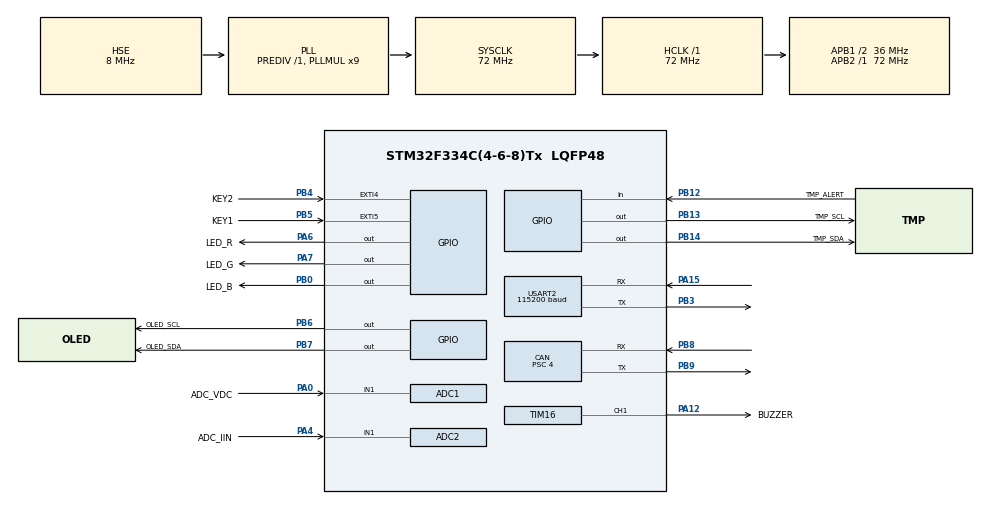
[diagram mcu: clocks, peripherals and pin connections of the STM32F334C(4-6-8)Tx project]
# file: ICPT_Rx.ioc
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ADC1.Channel-0\#ChannelRegularConversion=ADC_CHANNEL_1
ADC1.NbrOfConversionFlag=1
ADC1.Offset-0\#ChannelRegularConversion=0
ADC1.OffsetNumber-0\#ChannelRegularConversion=ADC_OFFSET_NONE
ADC1.Rank-0\#ChannelRegularConversion=1
ADC1.SamplingTime-0\#ChannelRegularConversion=ADC_SAMPLETIME_1CYCLE_5
ADC1.SamplingTimeOPAMP-0\#ChannelRegularConversion=ADC_SAMPLETIME_61CYCLES_5
ADC1.SubFamily=STM32F334x8
ADC1.master=1
ADC2.Channel-0\#ChannelRegularConversion=ADC_CHANNEL_1
ADC2.NbrOfConversionFlag=1
ADC2.Offset-0\#ChannelRegularConversion=0
ADC2.OffsetNumber-0\#ChannelRegularConversion=ADC_OFFSET_NONE
ADC2.Rank-0\#ChannelRegularConversion=1
ADC2.SamplingTime-0\#ChannelRegularConversion=ADC_SAMPLETIME_1CYCLE_5
ADC2.SamplingTimeOPAMP-0\#ChannelRegularConversion=ADC_SAMPLETIME_61CYCLES_5
ADC2.SubFamily=STM32F334x8
CAN.ABOM=ENABLE
CAN.BS1=CAN_BS1_4TQ
CAN.BS2=CAN_BS2_4TQ
CAN.CalculateBaudRate=1000000
CAN.CalculateTimeBit=1000
CAN.CalculateTimeQuantum=111.11111111111111
CAN.NART=ENABLE
CAN.Prescaler=4
CAN.TXFP=ENABLE
Dma.ADC1.0.Direction=DMA_PERIPH_TO_MEMORY
Dma.ADC1.0.Instance=DMA1_Channel1
Dma.ADC1.0.MemDataAlignment=DMA_MDATAALIGN_HALFWORD
Dma.ADC1.0.MemInc=DMA_MINC_ENABLE
Dma.ADC1.0.Mode=DMA_CIRCULAR
Dma.ADC1.0.PeriphDataAlignment=DMA_PDATAALIGN_HALFWORD
Dma.ADC1.0.PeriphInc=DMA_PINC_DISABLE
Dma.ADC1.0.Priority=DMA_PRIORITY_LOW
Dma.ADC2.1.Direction=DMA_PERIPH_TO_MEMORY
Dma.ADC2.1.Instance=DMA1_Channel2
Dma.ADC2.1.MemDataAlignment=DMA_MDATAALIGN_HALFWORD
Dma.ADC2.1.MemInc=DMA_MINC_ENABLE
Dma.ADC2.1.Mode=DMA_CIRCULAR
Dma.ADC2.1.PeriphDataAlignment=DMA_PDATAALIGN_HALFWORD
Dma.ADC2.1.PeriphInc=DMA_PINC_DISABLE
Dma.ADC2.1.Priority=DMA_PRIORITY_LOW
Dma.Request0=ADC1
Dma.Request1=ADC2
Mcu.Family=STM32F3
Mcu.Name=STM32F334C(4-6-8)Tx
Mcu.Package=LQFP48
NVIC.CAN_RX0_IRQn=true\:0\:0\:false\:false\:true\:true\:true\:true
NVIC.CAN_RX1_IRQn=true\:0\:0\:false\:false\:true\:true\:true\:true
NVIC.DMA1_Channel1_IRQn=true\:0\:0\:false\:false\:true\:false\:true\:true
NVIC.DMA1_Channel2_IRQn=true\:0\:0\:false\:false\:true\:false\:true\:true
NVIC.EXTI4_IRQn=true\:0\:0\:false\:false\:true\:true\:true\:true
NVIC.EXTI9_5_IRQn=true\:0\:0\:false\:false\:true\:true\:true\:true
NVIC.PriorityGroup=NVIC_PRIORITYGROUP_4
NVIC.TIM6_DAC1_IRQn=true\:0\:0\:false\:false\:true\:true\:true\:true
NVIC.USART2_IRQn=true\:0\:0\:false\:false\:true\:true\:true\:true
PA0.GPIO_Label=ADC_VDC
PA0.Mode=IN1-Single-Ended
PA0.Signal=ADC1_IN1
PA12.GPIO_Label=BUZZER
PA12.Signal=S_TIM16_CH1
PA13.Mode=Serial_Wire
PA13.Signal=SYS_JTMS-SWDIO
PA14.Mode=Serial_Wire
PA14.Signal=SYS_JTCK-SWCLK
PA15.Mode=Asynchronous
PA15.Signal=USART2_RX
PA4.GPIO_Label=ADC_IIN
PA4.Mode=IN1-Single-Ended
PA4.Signal=ADC2_IN1
PA6.GPIO_Label=LED_R
PA6.Signal=GPIO_Output
PA7.GPIO_Label=LED_G
PA7.Signal=GPIO_Output
PB0.GPIO_Label=LED_B
PB0.Signal=GPIO_Output
PB12.GPIO_Label=TMP_ALERT
PB12.Signal=GPIO_Input
PB13.GPIO_Label=TMP_SCL
PB13.Signal=GPIO_Output
PB14.GPIO_Label=TMP_SDA
PB14.Signal=GPIO_Output
PB3.Mode=Asynchronous
PB3.Signal=USART2_TX
PB4.GPIO_Label=KEY2
PB4.Signal=GPXTI4
PB5.GPIO_Label=KEY1
PB5.Signal=GPXTI5
PB6.GPIO_Label=OLED_SCL
PB6.Signal=GPIO_Output
PB7.GPIO_Label=OLED_SDA
PB7.Signal=GPIO_Output
PB8.Mode=CAN_Activate
PB8.Signal=CAN_RX
PB9.Mode=CAN_Activate
PB9.Signal=CAN_TX
PF0\ /\ OSC_IN.Mode=HSE-External-Clock-Source
PF0\ /\ OSC_IN.Signal=RCC_OSC_IN
ProjectManager.HeapSize=0x200
ProjectManager.StackSize=0x400
ProjectManager.TargetToolchain=MDK-ARM V5.32
RCC.AHBFreq_Value=72000000
RCC.APB1CLKDivider=RCC_HCLK_DIV2
RCC.APB1Freq_Value=36000000
RCC.APB1TimFreq_Value=72000000
RCC.APB2Freq_Value=72000000
RCC.APB2TimFreq_Value=72000000
RCC.CortexFreq_Value=72000000
RCC.HCLKFreq_Value=72000000
RCC.HSE_VALUE=8000000
RCC.HSI_VALUE=8000000
RCC.LSE_VALUE=32768
RCC.PLLMUL=RCC_PLL_MUL9
RCC.PLLSourceVirtual=RCC_PLLSOURCE_HSE
RCC.SYSCLKFreq_VALUE=72000000
RCC.SYSCLKSourceVirtual=RCC_SYSCLKSOURCE_PLLCLK
SH.S_TIM16_CH1.0=TIM16_CH1,PWM Generation1 CH1
TIM16.Channel=TIM_CHANNEL_1
TIM16.Period=5000-1
TIM16.Prescaler=72-1
TIM16.Pulse=2500
TIM6.Period=10000-1
TIM6.Prescaler=72-1
USART2.BaudRate=115200
USART2.VirtualMode-Asynchronous=VM_ASYNC
VP_TIM16_VS_ClockSourceINT.Mode=Enable_Timer
VP_TIM6_VS_ClockSourceINT.Mode=Enable_Timer
board=custom

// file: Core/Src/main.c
/* USER CODE BEGIN Header */
/**
  ******************************************************************************
  * @file           : main.c
  * @brief          : Main program body
  ******************************************************************************
  * @attention
  *
  * Copyright (c) 2025 STMicroelectronics.
  * All rights reserved.
  *
  * This software is licensed under terms that can be found in the LICENSE file
  * in the root directory of this software component.
  * If no LICENSE file comes with this software, it is provided AS-IS.
  *
  ******************************************************************************
  */
/* USER CODE END Header */
#include "main.h"
#include "adc.h"
#include "can.h"
#include "dma.h"
#include "tim.h"
#include "usart.h"
#include "gpio.h"

/* USER CODE BEGIN Includes */
#include "oled.h"
#include "sample.h"
#include "connect.h"
#include "mathfun.h"
#include "temp.h"
/* USER CODE END Includes */

/* USER CODE BEGIN PV */
// 显示值
static float Vdc, Idc;
/* USER CODE END PV */

void SystemClock_Config(void);

int main(void)
{

  /* MCU Configuration--------------------------------------------------------*/

  /* Reset of all peripherals, Initializes the Flash interface and the Systick. */
  HAL_Init();

  /* Configure the system clock */
  SystemClock_Config();

  /* Initialize all configured peripherals */
  MX_GPIO_Init();
  MX_DMA_Init();
  MX_ADC1_Init();
  MX_ADC2_Init();
  MX_TIM6_Init();
  MX_CAN_Init();
  MX_TIM16_Init();
  MX_USART2_UART_Init();
  /* USER CODE BEGIN 2 */
  LED_R(1);
  LED_G(1);
  LED_B(1);
  // 初始化 OLED
  OLED_Init();
  OLED_ShowString(1, 2, "Loading...");
  // 初始化温度传感器
  TMP_Init();
  TMP_Alert_Config(80, 75);
  // HAL_TIM_Base_Start_IT(&TMP_TIM);
  // 初始化 ADC
  Init_ADC_Data();
  Init_ADC();
  // CAN 接收配置
  CAN_Receive_Config();
  HAL_Delay(500);

  OLED_Clear();
  LED_R(0);
  LED_B(0);
  /* USER CODE END 2 */

  /* Infinite loop */
  /* USER CODE BEGIN WHILE */
  while (1)
  {
    Vdc = VDC.now_value;
    Idc = IDC.now_value;

    OLED_ShowString(2, 1, "Vdc:");
    OLED_ShowChar(2, 5, Vdc >= 0 ? ' ' : '-');
    OLED_ShowNum(2, 6, Floor(abs(Vdc)), 1);
    OLED_ShowChar(2, 7, '.');
    OLED_ShowNum(2, 8, Mod1(abs(Vdc)), 2);

    OLED_ShowString(3, 1, "Idc:");
    OLED_ShowChar(3, 5, Idc >= 0 ? ' ' : '-');
    OLED_ShowNum(3, 6, Floor(abs(Idc)), 1);
    OLED_ShowChar(3, 7, '.');
    OLED_ShowNum(3, 8, Mod1(abs(Idc)), 2);
    /* USER CODE END WHILE */

  }
}

void SystemClock_Config(void)
{
  RCC_OscInitTypeDef RCC_OscInitStruct = {0};
  RCC_ClkInitTypeDef RCC_ClkInitStruct = {0};
  RCC_PeriphCLKInitTypeDef PeriphClkInit = {0};

  /** Initializes the RCC Oscillators according to the specified parameters
  * in the RCC_OscInitTypeDef structure.
  */
  RCC_OscInitStruct.OscillatorType = RCC_OSCILLATORTYPE_HSE;
  RCC_OscInitStruct.HSEState = RCC_HSE_BYPASS;
  RCC_OscInitStruct.HSEPredivValue = RCC_HSE_PREDIV_DIV1;
  RCC_OscInitStruct.HSIState = RCC_HSI_ON;
  RCC_OscInitStruct.PLL.PLLState = RCC_PLL_ON;
  RCC_OscInitStruct.PLL.PLLSource = RCC_PLLSOURCE_HSE;
  RCC_OscInitStruct.PLL.PLLMUL = RCC_PLL_MUL9;
  if (HAL_RCC_OscConfig(&RCC_OscInitStruct) != HAL_OK)
  {
    Error_Handler();
  }

  /** Initializes the CPU, AHB and APB buses clocks
  */
  RCC_ClkInitStruct.ClockType = RCC_CLOCKTYPE_HCLK|RCC_CLOCKTYPE_SYSCLK
                              |RCC_CLOCKTYPE_PCLK1|RCC_CLOCKTYPE_PCLK2;
  RCC_ClkInitStruct.SYSCLKSource = RCC_SYSCLKSOURCE_PLLCLK;
  RCC_ClkInitStruct.AHBCLKDivider = RCC_SYSCLK_DIV1;
  RCC_ClkInitStruct.APB1CLKDivider = RCC_HCLK_DIV2;
  RCC_ClkInitStruct.APB2CLKDivider = RCC_HCLK_DIV1;

  if (HAL_RCC_ClockConfig(&RCC_ClkInitStruct, FLASH_LATENCY_2) != HAL_OK)
  {
    Error_Handler();
  }
  PeriphClkInit.PeriphClockSelection = RCC_PERIPHCLK_ADC12;
  PeriphClkInit.Adc12ClockSelection = RCC_ADC12PLLCLK_DIV1;
  if (HAL_RCCEx_PeriphCLKConfig(&PeriphClkInit) != HAL_OK)
  {
    Error_Handler();
  }
}

void Error_Handler(void)
{
  __disable_irq();
  while (1)
  {
  }
}
